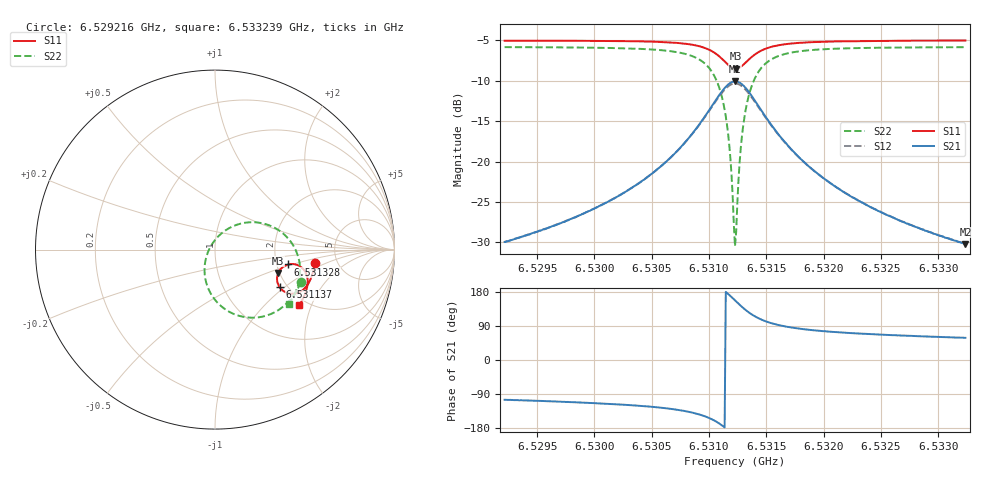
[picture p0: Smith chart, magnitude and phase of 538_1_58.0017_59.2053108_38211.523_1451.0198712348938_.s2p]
#  HZ  S  RI  R  50.00
! Rohde & Schwarz Vector Network Analyzer
! Rohde-Schwarz,ZNB20-2Port,1311601062101988,3.16
! Created: UTC 3/21/2024, 1:14:22 AM
! freq[Hz]  re:S11  im:S11  re:S21  im:S21  re:S12  im:S12  re:S22  im:S22
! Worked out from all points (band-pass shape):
!   401 points, 6.529216 GHz to 6.533239 GHz, reference 50 ohm
!   highest |S21| = -10.06 dB at 6.531227 GHz (marker M1); lowest = -30.2 dB at 6.533239 GHz (marker M2)
!   |S21| within 3 dB of the highest: 6.531028 GHz to 6.53143 GHz (402 kHz wide, 0.00616 % of centre)
!   lowest |S11| = -8.5 dB at 6.531237 GHz (marker M3), VSWR 2.20, Z = 98.5 - j29.7 ohm
!   |S11| at or under -10 dB: nowhere
!   |S22| runs from -30.5 to -5.8 dB; largest |S21 - S12| = 0.012
!   S11 on the Smith chart (normalised r, x): 6.529216 GHz: 3.38, -0.73; 6.531137 GHz: 1.82, -0.93; 6.531328 GHz: 2.31, -0.46; 6.533239 GHz: 1.82, -1.64
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6.5292158e9  0.5558 -0.0744  -0.00821 -0.0308  -0.0088 -0.0306  0.479 -0.1796
6.5298897e9  0.5443 -0.1307  -0.0181 -0.0437  -0.019 -0.0434  0.4469 -0.2421
6.5302417e9  0.533 -0.1633  -0.0294 -0.0559  -0.0309 -0.0552  0.4165 -0.2828
6.5305635e9  0.5143 -0.1979  -0.0529 -0.0746  -0.0549 -0.0731  0.3633 -0.3304
6.5307948e9  0.4863 -0.2271  -0.0937 -0.0936  -0.0965 -0.0905  0.2811 -0.3692
6.5309658e9  0.4415 -0.2455  -0.1633 -0.0993  -0.1654 -0.0924  0.1532 -0.3737
6.5310664e9  0.3957 -0.239  -0.2338 -0.0712  -0.2328 -0.0613  0.0347 -0.3155
6.5311368e9  0.3607 -0.21  -0.2853 -0.0107  -0.2791 -0.000783  -0.042 -0.2054
6.531177e9  0.3478 -0.181  -0.3009 0.0436  -0.2915 0.0515  -0.0584 -0.113
6.5312172e9  0.3473 -0.1466  -0.2952 0.1054  -0.2839 0.1096  -0.0388 -0.0127
6.5312273e9  0.3496 -0.138  -0.29 0.1205  -0.2785 0.1237  -0.0279 0.0111
6.5312374e9  0.3526 -0.1297  -0.2832 0.135  -0.2718 0.1372  -0.0143 0.0337
6.5312474e9  0.3566 -0.1218  -0.2751 0.1487  -0.2638 0.15  0.00123 0.0547
6.5312675e9  0.3668 -0.1077  -0.2553 0.1733  -0.2447 0.1726  0.0374 0.0914
6.5312876e9  0.3793 -0.0963  -0.2319 0.1926  -0.2225 0.1906  0.0788 0.1195
6.5313279e9  0.4072 -0.0828  -0.1817 0.2157  -0.1748 0.2121  0.1654 0.1494
6.5313983e9  0.4516 -0.0834  -0.1041 0.2166  -0.1007 0.2133  0.295 0.1378
6.5314989e9  0.49 -0.1067  -0.0381 0.1837  -0.0365 0.1818  0.4018 0.0681
6.5316497e9  0.5116 -0.1439  0.00122 0.1353  0.00223 0.1346  0.46 -0.0294
6.5319012e9  0.5161 -0.1877  0.0174 0.0879  0.0185 0.0877  0.4741 -0.1282
6.532575e9  0.4969 -0.2582  0.0188 0.0421  0.0196 0.0419  0.4451 -0.2448
6.5332388e9  0.4707 -0.3081  0.0162 0.0264  0.0168 0.0262  0.4106 -0.3044
